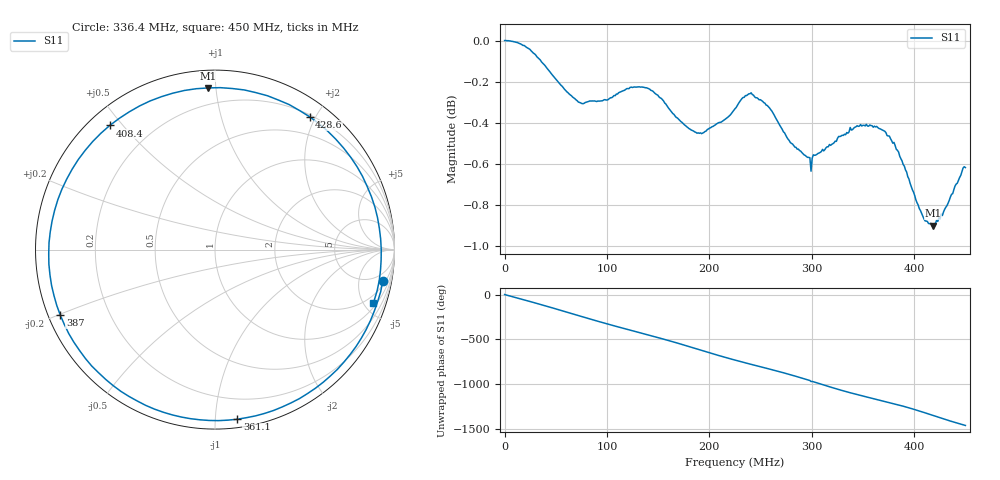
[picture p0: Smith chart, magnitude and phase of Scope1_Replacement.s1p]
! NanoVNA-App
! Date: 2026-10-05 12:02:54
! Start: 50kHz Stop: 450MHz Points: 401
! S-Parameter data: F S11
# Hz S RI R 50
!  Frequency  S11_Real  S11_Imag
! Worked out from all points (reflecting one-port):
!   401 points, 50 kHz to 450 MHz, reference 50 ohm
!   lowest |S11| = -0.9 dB at 418.5 MHz (marker M1), VSWR 19.33, Z = 4.95 + j47.7 ohm
!   phase of S11 starts at -0 deg and turns -1458 deg over the sweep
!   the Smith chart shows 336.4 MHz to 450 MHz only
!   S11 on the Smith chart (normalised r, x): 336.4 MHz: 3, -10; 361.1 MHz: 0.05, -1.14; 387 MHz: 0.03, -0.20; 408.4 MHz: 0.06, +0.46; 428.6 MHz: 0.23, +1.92; 450 MHz: 1.31, -5.84
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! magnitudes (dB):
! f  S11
! 50 kHz  0.0
! 24.8 MHz  0.0
! 56.29 MHz  -0.2
! 75.42 MHz  -0.3
! 100.2 MHz  -0.3
! 112.5 MHz  -0.3
! 124.9 MHz  -0.2
! 139.5 MHz  -0.2
! 151.9 MHz  -0.3
! 168.8 MHz  -0.4
! 192.4 MHz  -0.5
! 213.8 MHz  -0.4
! 225 MHz  -0.3
! 232.9 MHz  -0.3
! 241.9 MHz  -0.3
! 258.8 MHz  -0.3
! 281.3 MHz  -0.5
! 298.1 MHz  -0.6
! 336.4 MHz  -0.4
! 337.5 MHz  -0.4
! 361.1 MHz  -0.4
! 373.5 MHz  -0.5
! 387 MHz  -0.6
! 393.8 MHz  -0.7
! 408.4 MHz  -0.9
! 418.5 MHz  -0.9
! 428.6 MHz  -0.8
! 450 MHz  -0.6
